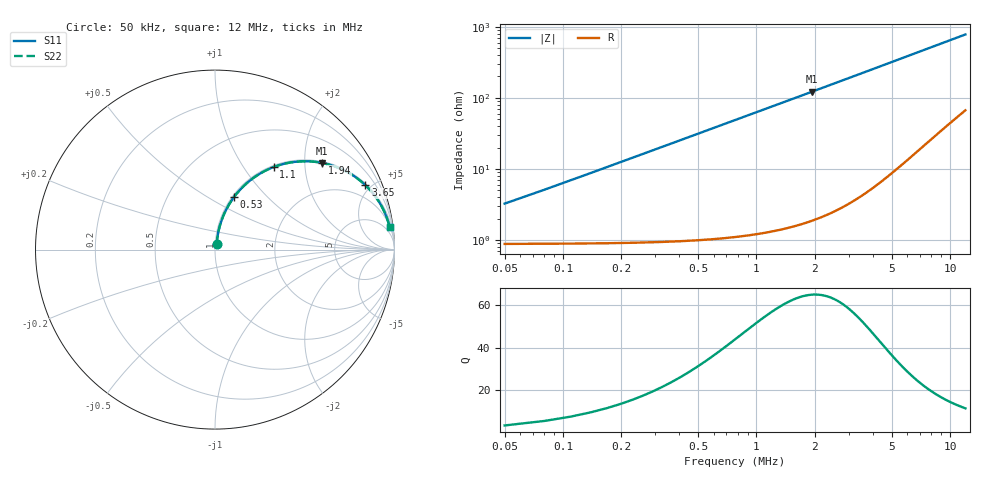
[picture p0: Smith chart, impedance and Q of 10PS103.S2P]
! Coilcraft 1008PS-103 Power Chip Inductor
! 7 October 2002
# MHZ S MA R 50
!Freq  MagS11  AngS11  MagS21  AngS21  MagS12  AngS12  MagS22  AngS22
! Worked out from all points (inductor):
!   400 points, 50 kHz to 12 MHz, reference 50 ohm
!   read as one part in series: L = 10 uH near 110 kHz
!   highest Q = 65.1 at 1.94 MHz (marker M1), where L = 10 uH
!   S11 on the Smith chart (normalised r, x): 50 kHz: 1.02, +0.06; 530 kHz: 1.02, +0.67; 1.1 MHz: 1.03, +1.38; 1.94 MHz: 1.04, +2.45; 3.65 MHz: 1.09, +4.64; 12 MHz: 2, +16
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0.05  0.03234 72.5  0.9907 -1.8  0.9907 -1.8  0.03234 72.5
0.08  0.05053 77.1  0.9899 -2.9  0.9899 -2.9  0.05053 77.1
0.11  0.06891 78.7  0.9888 -3.9  0.9888 -3.9  0.06891 78.7
0.14  0.08731 79.2  0.9873 -5.0  0.9873 -5.0  0.08731 79.2
0.2  0.1239 78.7  0.9834 -7.1  0.9834 -7.1  0.1239 78.7
0.26  0.16 77.6  0.9781 -9.2  0.9781 -9.2  0.16 77.6
0.35  0.2131 75.2  0.9679 -12.3  0.9679 -12.3  0.2131 75.2
0.44  0.2643 72.7  0.9551 -15.3  0.9551 -15.3  0.2643 72.7
0.53  0.3133 70.0  0.9402 -18.3  0.9402 -18.3  0.3133 70.0
0.77  0.432 63.1  0.8921 -25.6  0.8921 -25.6  0.432 63.1
1.1  0.5643 54.6  0.8153 -34.3  0.8153 -34.3  0.5643 54.6
1.46  0.6714 46.9  0.7303 -42.2  0.7303 -42.2  0.6714 46.9
1.94  0.7685 38.9  0.6281 -50.2  0.6281 -50.2  0.7685 38.9
2.06  0.7868 37.2  0.6053 -51.9  0.6053 -51.9  0.7868 37.2
2.78  0.8633 29.4  0.4907 -59.7  0.4907 -59.7  0.8633 29.4
3.65  0.9117 23.2  0.3932 -65.7  0.3932 -65.7  0.9117 23.2
4.04  0.9253 21.1  0.3599 -67.7  0.3599 -67.7  0.9253 21.1
4.94  0.946 17.4  0.2998 -71.0  0.2998 -71.0  0.946 17.4
6.05  0.9603 14.3  0.2474 -73.7  0.2474 -73.7  0.9603 14.3
8.03  0.9727 10.8  0.1877 -76.3  0.1877 -76.3  0.9727 10.8
10.01  0.9783 8.7  0.1509 -77.4  0.1509 -77.4  0.9783 8.7
12  0.9813 7.2  0.126 -77.9  0.126 -77.9  0.9813 7.2
